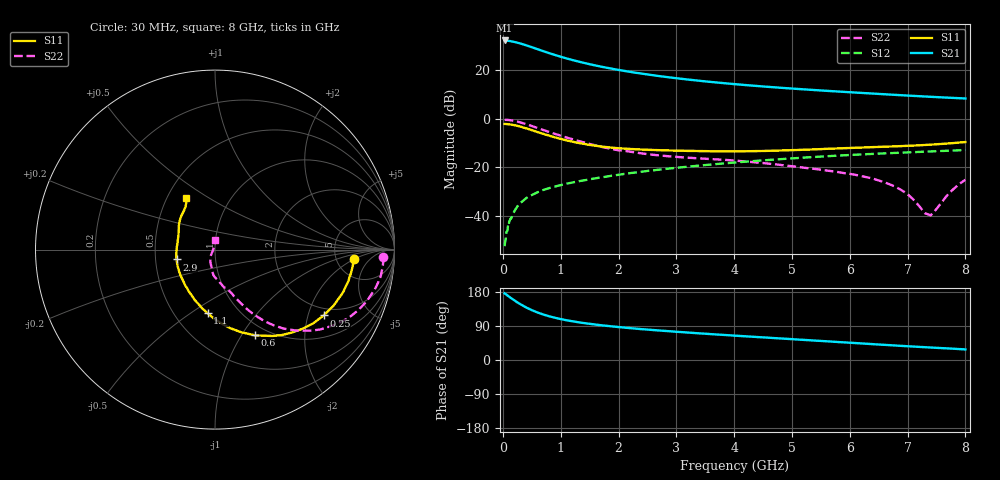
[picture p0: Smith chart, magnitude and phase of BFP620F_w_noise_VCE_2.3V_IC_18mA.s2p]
! Infineon Technologies  Discrete & RF Semiconductors
! BFP620F
! VCE =  2.3 V,  IC =  18 mA
! Common Emitter S-Parameters:  Dec 2014
# GHz  S  MA  R  50
!  f  S11  S21  S12  S22
! GHz  MAG  ANG  MAG  ANG  MAG  ANG  MAG  ANG
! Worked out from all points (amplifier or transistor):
!   95 points, 30 MHz to 8 GHz, reference 50 ohm
!   highest |S21| = 32.1 dB at 30 MHz (marker M1)
!   |S21| within 3 dB of that: start of sweep to 528.1 MHz
!   unconditionally stable (mu >= 1): 2.961 GHz to end of sweep
!   at 300 MHz: K = 0.35, MSG = 32.8 dB, |S12| = -34.7 dB
!   at 3.3 GHz: K = 1.01, MAG = 17.0 dB, |S12| = -19.5 dB
!   at 8 GHz: K = 1.07, MAG = 9.0 dB, |S12| = -12.9 dB
!   lowest NFmin = 0.78 dB at 450 MHz
!   S11 on the Smith chart (normalised r, x): 30 MHz: 7.33, -1.93; 250 MHz: 1.72, -2.53; 600 MHz: 0.87, -1.15; 1.1 GHz: 0.72, -0.59; 2.9 GHz: 0.64, -0.07; 8 GHz: 0.62, +0.40
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0.03  0.774 -3.9  40.1 175.9  0.0024 37.4  0.9388 -2.5
0.08  0.7678 -10.3  39.64 170.2  0.0051 61.8  0.9363 -7.4
0.13  0.7548 -16.8  38.88 164.6  0.0088 75.9  0.9236 -12.3
0.25  0.7078 -31.2  36.11 152.1  0.0157 70.4  0.8661 -23.0
0.3  0.6844 -36.8  34.78 147.5  0.0184 68.4  0.8356 -27.1
0.4  0.6296 -47.3  32 138.9  0.0231 67.2  0.7681 -34.0
0.5  0.5779 -56.4  29.16 131.6  0.0269 64.8  0.7027 -40.0
0.6  0.5275 -64.9  26.52 125.3  0.0307 63.2  0.6391 -44.9
0.7  0.4842 -72.2  24.16 120.0  0.0342 61.9  0.5821 -49.1
0.8  0.4455 -79.1  22.04 115.4  0.0373 61.5  0.5308 -52.4
0.9  0.4113 -85.3  20.2 111.5  0.0402 61.0  0.4851 -55.3
1.1  0.3566 -96.6  17.17 104.9  0.0459 60.0  0.4086 -59.8
1.4  0.3024 -111.9  13.92 97.5  0.0538 59.5  0.324 -64.8
1.7  0.2661 -125.6  11.62 91.7  0.0619 59.3  0.2631 -68.9
2  0.2459 -137.7  9.97 87.0  0.07 58.6  0.2235 -73.5
2.7  0.2244 -160.4  7.462 77.9  0.0892 56.6  0.1754 -83.7
2.9  0.2211 -165.7  6.957 75.7  0.0947 55.7  0.1669 -86.1
4.1  0.2125 168.5  4.981 63.4  0.1275 50.6  0.1345 -94.8
5.4  0.2335 149.8  3.84 51.2  0.1629 43.4  0.0923 -103.6
6.7  0.2668 134.0  3.105 39.1  0.1951 35.2  0.0442 -122.8
7.4  0.2912 124.2  2.796 32.9  0.2111 30.9  0.0103 152.1
8  0.3298 118.9  2.581 27.9  0.2255 27.0  0.0555 88.1
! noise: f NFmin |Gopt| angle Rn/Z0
0.45  0.78  0.08  6  0.21
0.9  0.84  0.08  15  0.18
1.5  0.89  0.08  16  0.14
1.8  0.91  0.07  17  0.13
1.9  0.92  0.04  34  0.15
2.4  0.96  0.03  60  0.14
3.5  1.04  0.03  133  0.14
5.5  1.18  0.13  224  0.09
6  1.21  0.13  245  0.13
